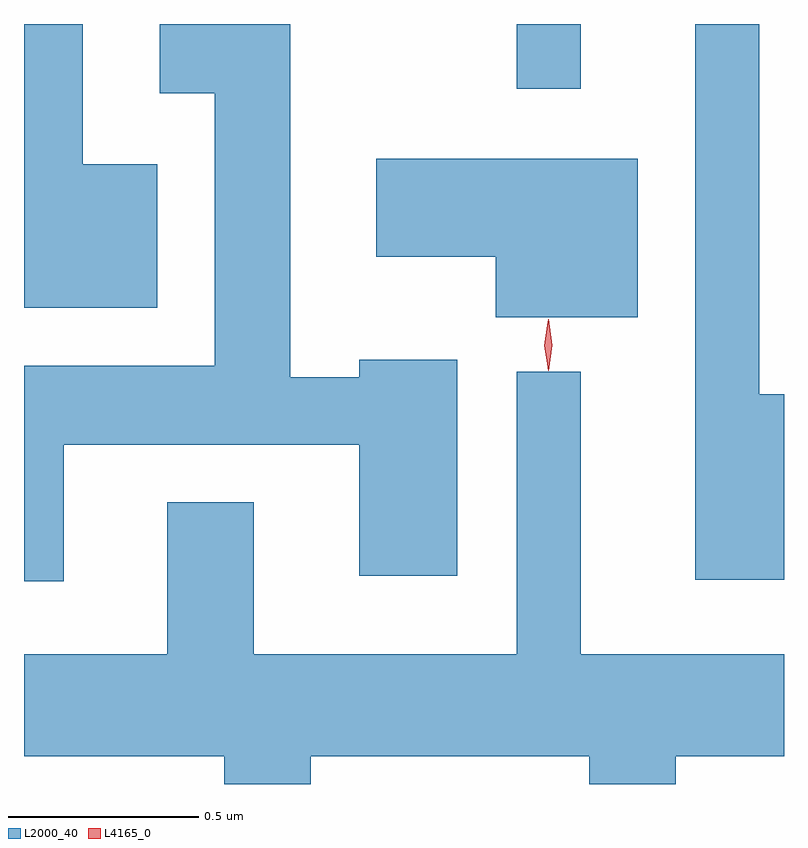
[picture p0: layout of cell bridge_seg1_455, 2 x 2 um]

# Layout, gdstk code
import gdstk
lib = gdstk.Library(unit=1e-6, precision=1e-09)
def R(c, l, rs):  # rectangles x0, y0, x1, y1
    for r in rs: c.add(gdstk.rectangle(r[:2], r[2:], *l))
def P(c, l, *ps):  # polygons
    for p in ps: c.add(gdstk.Polygon(p, *l))
L2000_40 = (2000, 40)
L4165_0 = (4165, 0)

bridge_seg1_455 = lib.new_cell('bridge_seg1_455')
R(bridge_seg1_455, L2000_40, [(208.321,859.153,208.489,859.323)])
P(bridge_seg1_455, L2000_40, [(207.129,858.216),(207.906,858.216),(207.906,857.871),(208.164,857.871),(208.164,858.439),(207.906,858.439),(207.906,858.394),(207.724,858.394),(207.724,859.323),(207.381,859.323),(207.381,859.141),(207.526,859.141),(207.526,858.424),(207.024,858.424),(207.024,857.856),(207.129,857.856)],
  [(207.374,858.954),(207.179,858.954),(207.179,859.323),(207.024,859.323),(207.024,858.576),(207.374,858.576)],
  [(209.024,858.349),(208.959,858.349),(208.959,859.323),(208.791,859.323),(208.791,857.861),(209.024,857.861)],
  [(208.639,858.969),(207.951,858.969),(207.951,858.711),(208.266,858.711),(208.266,858.551),(208.639,858.551)],
  [(207.779,857.396),(208.511,857.396),(208.511,857.323),(208.739,857.323),(208.739,857.396),(209.024,857.396),(209.024,857.664),(208.489,857.664),(208.489,858.408),(208.321,858.408),(208.321,857.664),(207.629,857.664),(207.629,858.064),(207.401,858.064),(207.401,857.664),(207.024,857.664),(207.024,857.396),(207.551,857.396),(207.551,857.323),(207.779,857.323)])
P(bridge_seg1_455, L4165_0, [(208.403,858.413),(208.403,858.413),(208.393,858.476),(208.402,858.54),(208.402,858.54),(208.403,858.54),(208.413,858.477),(208.404,858.413)],
  [(208.404,858.41),(208.404,858.41),(208.394,858.478),(208.404,858.546),(208.404,858.546),(208.405,858.546),(208.414,858.478),(208.405,858.41)])

lib.write_gds('bridge_seg1_455.gds')
